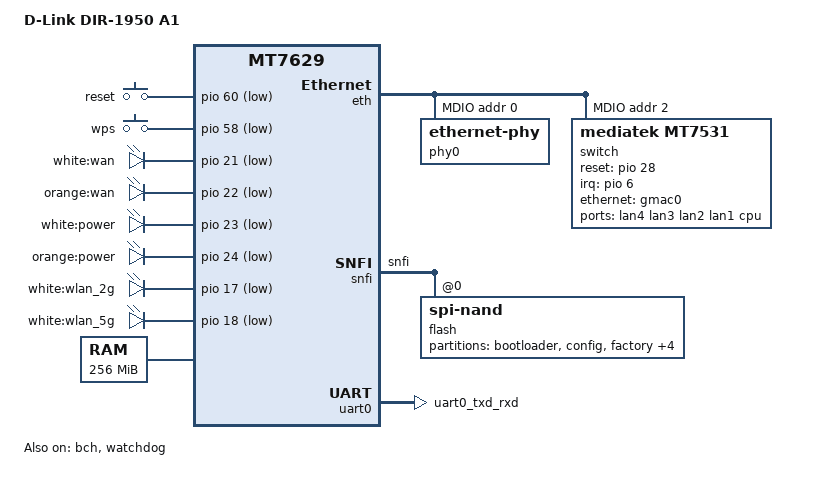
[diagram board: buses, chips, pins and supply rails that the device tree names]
// SPDX-License-Identifier: GPL-2.0

/dts-v1/;
#include <dt-bindings/input/input.h>
#include "mt7629.dtsi"

/ {
	model = "D-Link DIR-1950 A1";
	compatible = "dlink,dir-1950-a1", "mediatek,mt7629";

	aliases {
		led-boot = &led_power_white;
		led-failsafe = &led_power_orange;
		led-running = &led_power_white;
		led-upgrade = &led_power_orange;
		serial0 = &uart0;
	};

	chosen {
		stdout-path = "serial0:115200n8";
		bootargs-override = "console=ttyS0,115200n8";
	};

	gpio-keys {
		compatible = "gpio-keys";

		reset {
			label = "reset";
			gpios = <&pio 60 GPIO_ACTIVE_LOW>;
			linux,code = <KEY_RESTART>;
		};

		wps {
			label = "wps";
			gpios = <&pio 58 GPIO_ACTIVE_LOW>;
			linux,code = <KEY_WPS_BUTTON>;
		};
	};

	leds {
		compatible = "gpio-leds";

		lan_white {
			label = "white:wan";
			gpios = <&pio 21 GPIO_ACTIVE_LOW>;
		};

		lan_orange {
			label = "orange:wan";
			gpios = <&pio 22 GPIO_ACTIVE_LOW>;
		};

		led_power_white: power_white {
			label = "white:power";
			gpios = <&pio 23 GPIO_ACTIVE_LOW>;
			default-state = "on";
		};

		led_power_orange: power_orange {
			label = "orange:power";
			gpios = <&pio 24 GPIO_ACTIVE_LOW>;
		};

		wlan_2g {
			label = "white:wlan_2g";
			gpios = <&pio 17 GPIO_ACTIVE_LOW>;
		};

		wlan_5g {
			label = "white:wlan_5g";
			gpios = <&pio 18 GPIO_ACTIVE_LOW>;
		};
	};

	memory@40000000 {
		device_type = "memory";
		reg = <0x40000000 0x10000000>;
	};
};

&eth {
	status = "okay";

	gmac0: mac@0 {
		compatible = "mediatek,eth-mac";
		reg = <0>;
		phy-mode = "2500base-x";
		nvmem-cells = <&macaddr_factory_2a>;
		nvmem-cell-names = "mac-address";

		fixed-link {
			speed = <2500>;
			full-duplex;
			pause;
		};
	};

	gmac1: mac@1 {
		compatible = "mediatek,eth-mac";
		reg = <1>;
		phy-mode = "gmii";
		phy-handle = <&phy0>;
		nvmem-cells = <&macaddr_factory_24>;
		nvmem-cell-names = "mac-address";
	};

	mdio: mdio-bus {
		#address-cells = <1>;
		#size-cells = <0>;

		phy0: ethernet-phy@0 {
			reg = <0>;
			phy-mode = "gmii";
		};

		switch@2 {
			compatible = "mediatek,mt7531";
			reg = <2>;
			reset-gpios = <&pio 28 0>;
			interrupt-controller;
			#interrupt-cells = <1>;
			interrupt-parent = <&pio>;
			interrupts = <6 IRQ_TYPE_LEVEL_HIGH>;

			ports {
				#address-cells = <1>;
				#size-cells = <0>;

				port@0 {
					reg = <0>;
					label = "lan4";
				};

				port@1 {
					reg = <1>;
					label = "lan3";
				};

				port@2 {
					reg = <2>;
					label = "lan2";
				};

				port@3 {
					reg = <3>;
					label = "lan1";
				};

				port@6 {
					reg = <6>;
					label = "cpu";
					ethernet = <&gmac0>;
					phy-mode = "2500base-x";

					fixed-link {
						speed = <2500>;
						full-duplex;
						pause;
					};
				};
			};
		};
	};
};

&bch {
	status = "okay";
};

&snfi {
	pinctrl-names = "default";
	pinctrl-0 = <&serial_nand_pins>;
	status = "okay";
	flash@0 {
		compatible = "spi-nand";
		reg = <0>;
		spi-tx-bus-width = <4>;
		spi-rx-bus-width = <4>;
		nand-ecc-engine = <&snfi>;
		mediatek,bmt-v2;

		partitions {
			compatible = "fixed-partitions";
			#address-cells = <1>;
			#size-cells = <1>;

			partition@0 {
				label = "bootloader";
				reg = <0x0 0x100000>;
				read-only;
			};

			partition@100000 {
				label = "config";
				reg = <0x100000 0x40000>;
				read-only;
			};

			factory: partition@140000 {
				label = "factory";
				reg = <0x140000 0x80000>;
				read-only;

				compatible = "nvmem-cells";
				#address-cells = <1>;
				#size-cells = <1>;

				macaddr_factory_24: macaddr@24 {
					reg = <0x24 0x6>;
				};

				macaddr_factory_2a: macaddr@2a {
					reg = <0x2a 0x6>;
				};
			};

			partition@1c0000 {
				label = "firmware";
				reg = <0x1c0000 0x3dc0000>;
			};

			partition@3f80000 {
				label = "sysupgrade";
				reg = <0x3f80000 0x80000>;
				read-only;
			};

			partition@4000000 {
				label = "mp";
				reg = <0x4000000 0x800000>;
				read-only;
			};

			partition@0x4800000 {
				label = "lang";
				reg = <0x4800000 0x800000>;
				read-only;
			};
		};
	};
};

&pio {
	/* Serial NAND is shared pin with SPI-NOR */
	serial_nand_pins: serial-nand-pins {
		mux {
			function = "flash";
			groups = "snfi";
		};
	};

	uart0_pins: uart0-pins {
		mux {
			function = "uart";
			groups = "uart0_txd_rxd" ;
		};
	};

	watchdog_pins: watchdog-pins {
		mux {
			function = "watchdog";
			groups = "watchdog";
		};
	};
};

&uart0 {
	pinctrl-names = "default";
	pinctrl-0 = <&uart0_pins>;
	status = "okay";
};

&watchdog {
	pinctrl-names = "default";
	pinctrl-0 = <&watchdog_pins>;
	status = "okay";

	interrupt-controller;
	#interrupt-cells = <1>;
	interrupt-parent = <&pio>;
	interrupts = <GIC_SPI 0x80 IRQ_TYPE_EDGE_FALLING>;
};
